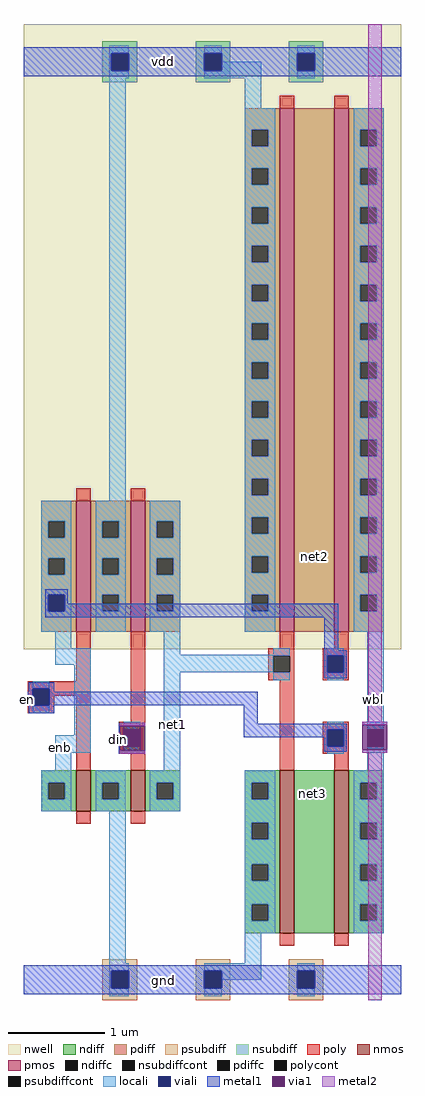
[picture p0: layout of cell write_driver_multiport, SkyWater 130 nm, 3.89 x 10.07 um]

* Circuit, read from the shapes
.subckt write_driver_multiport din vdd gnd en wbl
XM1 gnd en enb gnd sky130_fd_pr__nfet_01v8 w=0.42 l=0.15
XM2 net1 din gnd gnd sky130_fd_pr__nfet_01v8 w=0.42 l=0.15
XM3 net3 net1 gnd gnd sky130_fd_pr__nfet_01v8 w=1.68 l=0.15
XM4 wbl en net3 gnd sky130_fd_pr__nfet_01v8 w=1.68 l=0.15
XM5 vdd en enb vdd sky130_fd_pr__pfet_01v8 w=1.35 l=0.15
XM6 net1 din vdd vdd sky130_fd_pr__pfet_01v8 w=1.35 l=0.15
XM7 net2 net1 vdd vdd sky130_fd_pr__pfet_01v8 w=5.4 l=0.15
XM8 wbl enb net2 vdd sky130_fd_pr__pfet_01v8 w=5.4 l=0.15
.ends

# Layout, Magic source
magic
tech sky130A
<< nwell >>
rect 0 362 389 1007
<< nmos >>
rect 54 195 69 237
rect 110 195 125 237
rect 264 69 279 237
rect 320 69 335 237
<< pmos >>
rect 54 380 69 515
rect 110 380 125 515
rect 264 380 279 920
rect 320 380 335 920
<< ndiff >>
rect 18 224 54 237
rect 18 207 25 224
rect 42 207 54 224
rect 18 195 54 207
rect 69 224 110 237
rect 69 207 81 224
rect 98 207 110 224
rect 69 195 110 207
rect 125 224 161 237
rect 125 207 137 224
rect 154 207 161 224
rect 125 195 161 207
rect 228 224 264 237
rect 228 207 235 224
rect 252 207 264 224
rect 228 183 264 207
rect 228 166 235 183
rect 252 166 264 183
rect 228 140 264 166
rect 228 123 235 140
rect 252 123 264 140
rect 228 99 264 123
rect 228 82 235 99
rect 252 82 264 99
rect 228 69 264 82
rect 279 69 320 237
rect 335 224 371 237
rect 335 207 347 224
rect 364 207 371 224
rect 335 183 371 207
rect 335 166 347 183
rect 364 166 371 183
rect 335 140 371 166
rect 335 123 347 140
rect 364 123 371 140
rect 335 99 371 123
rect 335 82 347 99
rect 364 82 371 99
rect 335 69 371 82
<< pdiff >>
rect 228 898 264 920
rect 228 881 235 898
rect 252 881 264 898
rect 228 858 264 881
rect 228 841 235 858
rect 252 841 264 858
rect 228 818 264 841
rect 228 801 235 818
rect 252 801 264 818
rect 228 778 264 801
rect 228 761 235 778
rect 252 761 264 778
rect 228 738 264 761
rect 228 721 235 738
rect 252 721 264 738
rect 228 698 264 721
rect 228 681 235 698
rect 252 681 264 698
rect 228 658 264 681
rect 228 641 235 658
rect 252 641 264 658
rect 228 618 264 641
rect 228 601 235 618
rect 252 601 264 618
rect 228 578 264 601
rect 228 561 235 578
rect 252 561 264 578
rect 228 538 264 561
rect 228 521 235 538
rect 252 521 264 538
rect 18 494 54 515
rect 18 477 25 494
rect 42 477 54 494
rect 18 456 54 477
rect 18 439 25 456
rect 42 439 54 456
rect 18 418 54 439
rect 18 401 25 418
rect 42 401 54 418
rect 18 380 54 401
rect 69 494 110 515
rect 69 477 81 494
rect 98 477 110 494
rect 69 456 110 477
rect 69 439 81 456
rect 98 439 110 456
rect 69 418 110 439
rect 69 401 81 418
rect 98 401 110 418
rect 69 380 110 401
rect 125 494 161 515
rect 125 477 137 494
rect 154 477 161 494
rect 125 456 161 477
rect 125 439 137 456
rect 154 439 161 456
rect 125 418 161 439
rect 125 401 137 418
rect 154 401 161 418
rect 125 380 161 401
rect 228 498 264 521
rect 228 481 235 498
rect 252 481 264 498
rect 228 458 264 481
rect 228 441 235 458
rect 252 441 264 458
rect 228 418 264 441
rect 228 401 235 418
rect 252 401 264 418
rect 228 380 264 401
rect 279 380 320 920
rect 335 898 371 920
rect 335 881 347 898
rect 364 881 371 898
rect 335 858 371 881
rect 335 841 347 858
rect 364 841 371 858
rect 335 818 371 841
rect 335 801 347 818
rect 364 801 371 818
rect 335 778 371 801
rect 335 761 347 778
rect 364 761 371 778
rect 335 738 371 761
rect 335 721 347 738
rect 364 721 371 738
rect 335 698 371 721
rect 335 681 347 698
rect 364 681 371 698
rect 335 658 371 681
rect 335 641 347 658
rect 364 641 371 658
rect 335 618 371 641
rect 335 601 347 618
rect 364 601 371 618
rect 335 578 371 601
rect 335 561 347 578
rect 364 561 371 578
rect 335 538 371 561
rect 335 521 347 538
rect 364 521 371 538
rect 335 498 371 521
rect 335 481 347 498
rect 364 481 371 498
rect 335 458 371 481
rect 335 441 347 458
rect 364 441 371 458
rect 335 418 371 441
rect 335 401 347 418
rect 364 401 371 418
rect 335 380 371 401
<< ndiffc >>
rect 25 207 42 224
rect 81 207 98 224
rect 137 207 154 224
rect 235 207 252 224
rect 235 166 252 183
rect 235 123 252 140
rect 235 82 252 99
rect 347 207 364 224
rect 347 166 364 183
rect 347 123 364 140
rect 347 82 364 99
<< pdiffc >>
rect 235 881 252 898
rect 235 841 252 858
rect 235 801 252 818
rect 235 761 252 778
rect 235 721 252 738
rect 235 681 252 698
rect 235 641 252 658
rect 235 601 252 618
rect 235 561 252 578
rect 235 521 252 538
rect 25 477 42 494
rect 25 439 42 456
rect 25 401 42 418
rect 81 477 98 494
rect 81 439 98 456
rect 81 401 98 418
rect 137 477 154 494
rect 137 439 154 456
rect 137 401 154 418
rect 235 481 252 498
rect 235 441 252 458
rect 235 401 252 418
rect 347 881 364 898
rect 347 841 364 858
rect 347 801 364 818
rect 347 761 364 778
rect 347 721 364 738
rect 347 681 364 698
rect 347 641 364 658
rect 347 601 364 618
rect 347 561 364 578
rect 347 521 364 538
rect 347 481 364 498
rect 347 441 364 458
rect 347 401 364 418
<< psubdiff >>
rect 81 30 117 42
rect 81 12 90 30
rect 108 12 117 30
rect 81 0 117 12
rect 177 30 213 42
rect 177 12 186 30
rect 204 12 213 30
rect 177 0 213 12
rect 273 30 309 42
rect 273 12 282 30
rect 300 12 309 30
rect 273 0 309 12
<< nsubdiff >>
rect 81 977 117 989
rect 81 959 90 977
rect 108 959 117 977
rect 81 947 117 959
rect 177 977 213 989
rect 177 959 186 977
rect 204 959 213 977
rect 177 947 213 959
rect 273 977 309 989
rect 273 959 282 977
rect 300 959 309 977
rect 273 947 309 959
<< psubdiffcont >>
rect 90 12 108 30
rect 186 12 204 30
rect 282 12 300 30
<< nsubdiffcont >>
rect 90 959 108 977
rect 186 959 204 977
rect 282 959 300 977
<< poly >>
rect 264 920 279 933
rect 320 920 335 933
rect 54 515 69 528
rect 110 515 125 528
rect 54 329 69 380
rect 4 321 69 329
rect 4 304 9 321
rect 26 314 69 321
rect 26 304 31 314
rect 4 296 31 304
rect 54 237 69 314
rect 110 287 125 380
rect 264 363 279 380
rect 320 363 335 380
rect 252 355 279 363
rect 252 338 257 355
rect 274 338 279 355
rect 252 330 279 338
rect 308 355 335 363
rect 308 338 313 355
rect 330 338 335 355
rect 308 330 335 338
rect 98 279 125 287
rect 98 262 103 279
rect 120 262 125 279
rect 98 254 125 262
rect 110 237 125 254
rect 264 237 279 330
rect 308 279 335 287
rect 308 262 313 279
rect 330 262 335 279
rect 308 254 335 262
rect 320 237 335 254
rect 54 182 69 195
rect 110 182 125 195
rect 264 56 279 69
rect 320 56 335 69
<< polycont >>
rect 9 304 26 321
rect 257 338 274 355
rect 313 338 330 355
rect 103 262 120 279
rect 313 262 330 279
<< locali >>
rect 88 977 108 985
rect 88 959 90 977
rect 88 951 108 959
rect 186 977 204 985
rect 282 977 300 985
rect 204 959 245 968
rect 186 951 245 959
rect 282 951 300 959
rect 88 515 105 951
rect 228 920 245 951
rect 228 898 259 920
rect 228 881 235 898
rect 252 881 259 898
rect 228 858 259 881
rect 228 841 235 858
rect 252 841 259 858
rect 228 818 259 841
rect 228 801 235 818
rect 252 801 259 818
rect 228 778 259 801
rect 228 761 235 778
rect 252 761 259 778
rect 228 738 259 761
rect 228 721 235 738
rect 252 721 259 738
rect 228 698 259 721
rect 228 681 235 698
rect 252 681 259 698
rect 228 658 259 681
rect 228 641 235 658
rect 252 641 259 658
rect 228 618 259 641
rect 228 601 235 618
rect 252 601 259 618
rect 228 578 259 601
rect 228 561 235 578
rect 252 561 259 578
rect 228 538 259 561
rect 228 521 235 538
rect 252 521 259 538
rect 18 494 49 515
rect 18 477 25 494
rect 42 477 49 494
rect 18 456 49 477
rect 18 439 25 456
rect 42 439 49 456
rect 18 418 49 439
rect 18 401 25 418
rect 42 401 49 418
rect 18 380 49 401
rect 74 494 105 515
rect 74 477 81 494
rect 98 477 105 494
rect 74 456 105 477
rect 74 439 81 456
rect 98 439 105 456
rect 74 418 105 439
rect 74 401 81 418
rect 98 401 105 418
rect 74 380 105 401
rect 130 494 161 515
rect 130 477 137 494
rect 154 477 161 494
rect 130 456 161 477
rect 130 439 137 456
rect 154 439 161 456
rect 130 418 161 439
rect 130 401 137 418
rect 154 401 161 418
rect 130 380 161 401
rect 228 498 259 521
rect 228 481 235 498
rect 252 481 259 498
rect 228 458 259 481
rect 228 441 235 458
rect 252 441 259 458
rect 228 418 259 441
rect 228 401 235 418
rect 252 401 259 418
rect 228 380 259 401
rect 340 898 371 920
rect 340 881 347 898
rect 364 881 371 898
rect 340 858 371 881
rect 340 841 347 858
rect 364 841 371 858
rect 340 818 371 841
rect 340 801 347 818
rect 364 801 371 818
rect 340 778 371 801
rect 340 761 347 778
rect 364 761 371 778
rect 340 738 371 761
rect 340 721 347 738
rect 364 721 371 738
rect 340 698 371 721
rect 340 681 347 698
rect 364 681 371 698
rect 340 658 371 681
rect 340 641 347 658
rect 364 641 371 658
rect 340 618 371 641
rect 340 601 347 618
rect 364 601 371 618
rect 340 578 371 601
rect 340 561 347 578
rect 364 561 371 578
rect 340 538 371 561
rect 340 521 347 538
rect 364 521 371 538
rect 340 498 371 521
rect 340 481 347 498
rect 364 481 371 498
rect 340 458 371 481
rect 340 441 347 458
rect 364 441 371 458
rect 340 418 371 441
rect 340 401 347 418
rect 364 401 371 418
rect 340 380 371 401
rect 32 363 49 380
rect 32 346 69 363
rect 9 321 26 329
rect 9 296 26 304
rect 52 273 69 346
rect 144 356 161 380
rect 257 356 274 363
rect 144 355 274 356
rect 144 338 257 355
rect 32 255 69 273
rect 103 279 120 287
rect 32 237 49 255
rect 103 254 120 262
rect 144 237 161 338
rect 257 330 274 338
rect 313 355 330 363
rect 313 330 330 338
rect 313 279 330 287
rect 313 254 330 262
rect 354 279 371 380
rect 354 237 371 262
rect 18 224 49 237
rect 18 207 25 224
rect 42 207 49 224
rect 18 195 49 207
rect 74 224 105 237
rect 74 207 81 224
rect 98 207 105 224
rect 74 195 105 207
rect 130 224 161 237
rect 130 207 137 224
rect 154 207 161 224
rect 130 195 161 207
rect 228 224 259 237
rect 228 207 235 224
rect 252 207 259 224
rect 88 38 105 195
rect 228 183 259 207
rect 228 166 235 183
rect 252 166 259 183
rect 228 140 259 166
rect 228 123 235 140
rect 252 123 259 140
rect 228 99 259 123
rect 228 82 235 99
rect 252 82 259 99
rect 228 69 259 82
rect 340 224 371 237
rect 340 207 347 224
rect 364 207 371 224
rect 340 183 371 207
rect 340 166 347 183
rect 364 166 371 183
rect 340 140 371 166
rect 340 123 347 140
rect 364 123 371 140
rect 340 99 371 123
rect 340 82 347 99
rect 364 82 371 99
rect 340 69 371 82
rect 228 38 245 69
rect 88 30 108 38
rect 88 12 90 30
rect 88 4 108 12
rect 186 30 245 38
rect 204 21 245 30
rect 282 30 300 38
rect 186 4 204 12
rect 282 4 300 12
<< viali >>
rect 90 959 108 977
rect 186 959 204 977
rect 282 959 300 977
rect 25 401 42 418
rect 9 304 26 321
rect 103 262 120 279
rect 313 338 330 355
rect 313 262 330 279
rect 354 262 371 279
rect 90 12 108 30
rect 186 12 204 30
rect 282 12 300 30
<< metal1 >>
rect 0 977 389 983
rect 0 959 90 977
rect 108 959 186 977
rect 204 959 282 977
rect 300 959 389 977
rect 0 953 389 959
rect 22 418 45 424
rect 22 401 25 418
rect 42 409 45 418
rect 42 401 324 409
rect 22 395 324 401
rect 310 361 324 395
rect 310 355 333 361
rect 310 338 313 355
rect 330 338 333 355
rect 310 332 333 338
rect 5 321 31 328
rect 5 318 9 321
rect 4 304 9 318
rect 26 318 31 321
rect 26 304 241 318
rect 5 296 31 304
rect 98 283 125 286
rect 98 257 99 283
rect 227 285 241 304
rect 227 279 333 285
rect 227 271 313 279
rect 98 254 125 257
rect 310 262 313 271
rect 330 262 333 279
rect 310 256 333 262
rect 349 284 375 287
rect 349 255 375 258
rect 0 30 389 36
rect 0 12 90 30
rect 108 12 186 30
rect 204 12 282 30
rect 300 12 389 30
rect 0 6 389 12
<< via1 >>
rect 99 279 125 283
rect 99 262 103 279
rect 103 262 120 279
rect 120 262 125 279
rect 99 257 125 262
rect 349 279 375 284
rect 349 262 354 279
rect 354 262 371 279
rect 371 262 375 279
rect 349 258 375 262
<< metal2 >>
rect 355 287 369 1007
rect 99 283 125 286
rect 98 262 99 276
rect 99 254 125 257
rect 349 284 375 287
rect 349 255 375 258
rect 355 0 369 255
<< labels >>
flabel metal2 98 269 98 269 0 FreeSans 80 0 0 0 din
port 1 nsew
flabel locali 38 261 38 261 0 FreeSans 80 0 0 0 enb
flabel locali 153 284 153 284 0 FreeSans 80 0 0 0 net1
flabel metal1 4 310 4 310 0 FreeSans 80 0 0 0 en
port 5 nsew
flabel metal2 361 310 361 310 0 FreeSans 80 0 0 0 wbl
port 6 nsew
flabel ndiff 298 213 298 213 0 FreeSans 80 0 0 0 net3
flabel pdiff 300 458 300 458 0 FreeSans 80 0 0 0 net2
flabel metal1 144 20 144 20 0 FreeSans 80 0 0 0 gnd
port 4 nsew
flabel metal1 144 968 144 968 0 FreeSans 80 0 0 0 vdd
port 3 nsew
<< properties >>
string FIXED_BBOX 0 0 389 1007
<< end >>
